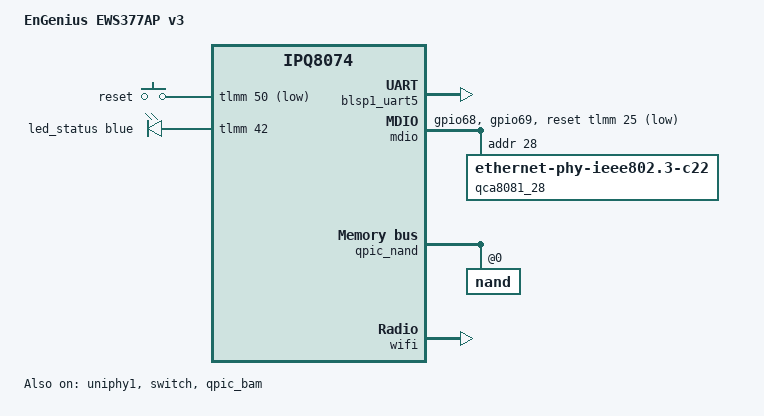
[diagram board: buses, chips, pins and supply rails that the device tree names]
// SPDX-License-Identifier: GPL-2.0-or-later OR BSD-2-Clause
/*
 * EnGenius EWS377AP v3  (Qualcomm IPQ8072A, board "ap-hk07")
 *
 * SCAFFOLD — derived from ipq8072-eap660hd-v1.dts (TP-Link EAP660 HD v1),
 * the closest in-tree IPQ8072 4x4 AP. Values marked TODO(extract) are
 * INHERITED PLACEHOLDERS and MUST be verified against the OEM device tree
 * pulled off real hardware (see UART/firmware extraction plan) before this
 * boots reliably. Do not treat this as validated.
 */

/dts-v1/;

#include "ipq8074.dtsi"
#include "ipq8074-nss.dtsi"
#include "ipq8074-hk-cpu.dtsi"
#include "ipq8074-ess.dtsi"
#include <dt-bindings/leds/common.h>
#include <dt-bindings/input/input.h>
#include <dt-bindings/gpio/gpio.h>

/ {
	model = "EnGenius EWS377AP v3";
	compatible = "engenius,ews377ap-v3", "qcom,ipq8074";

	aliases {
		serial0 = &blsp1_uart5;
		led-boot = &led_status;
		led-failsafe = &led_status;
		led-running = &led_status;
		led-upgrade = &led_status;
	};

	chosen {
		stdout-path = "serial0,115200n8";
		bootargs-append = " root=/dev/ubiblock0_1";
	};

	keys {
		compatible = "gpio-keys";

		/* TODO(extract): confirm reset-button GPIO from OEM DTS */
		reset {
			label = "reset";
			gpios = <&tlmm 50 GPIO_ACTIVE_LOW>;
			linux,code = <KEY_RESTART>;
		};
	};

	leds {
		compatible = "gpio-leds";

		/*
		 * TODO(extract): EWS377AP v3 has multiple status LEDs (power +
		 * per-band). Only a single status LED is scaffolded here; map the
		 * real GPIOs/colors from the OEM DTS + /sys/class/leds.
		 */
		led_status: status {
			function = LED_FUNCTION_STATUS;
			gpios = <&tlmm 42 GPIO_ACTIVE_HIGH>;
			color = <LED_COLOR_ID_BLUE>;
		};
	};
};

&blsp1_uart5 {
	status = "okay";
};

&tlmm {
	mdio_pins: mdio-pins {
		mdc {
			pins = "gpio68";
			function = "mdc";
			drive-strength = <8>;
			bias-pull-up;
		};

		mdio {
			pins = "gpio69";
			function = "mdio";
			drive-strength = <8>;
			bias-pull-up;
		};
	};
};

&mdio {
	status = "okay";
	pinctrl-0 = <&mdio_pins>;
	pinctrl-names = "default";
	/* TODO(extract): confirm PHY reset GPIO */
	reset-gpios = <&tlmm 25 GPIO_ACTIVE_LOW>;

	/*
	 * TODO(extract): EWS377AP v3 uplink is a single 2.5GbE PoE port.
	 * Confirm the PHY model + MDIO address from the OEM DTS. EAP660HD uses
	 * a QCA8081 at addr 28; the EWS377 is the same reference-design class
	 * but the address must be verified.
	 */
	qca8081_28: ethernet-phy@28 {
		compatible = "ethernet-phy-ieee802.3-c22";
		reg = <28>;
	};
};

&uniphy1 {
	status = "okay";
};

&switch {
	status = "okay";

	ports {
		#address-cells = <1>;
		#size-cells = <0>;

		port@0 {
			reg = <0>;
			ethernet = <&edma>;
			phy-mode = "internal";

			fixed-link {
				speed = <1000>;
				full-duplex;
			};
		};

		/* TODO(extract): confirm ESS port index + link speed for the uplink */
		swport5: port@5 {
			reg = <5>;
			label = "lan";
			phy-handle = <&qca8081_28>;
			phy-mode = "2500base-x";
			pcs-handle = <&uniphy1 0>;
		};
	};
};

&edma {
	status = "okay";
};

&qpic_bam {
	status = "okay";
};

&qpic_nand {
	status = "okay";

	nand@0 {
		reg = <0>;
		nand-ecc-strength = <4>;
		nand-ecc-step-size = <512>;
		nand-bus-width = <8>;

		/*
		 * OEM firmware is QSDK OpenWrt and defines the partition table in
		 * SMEM, so the layout (DEVCFG/APPSBLENV/APPSBL/cert/ART/rootfs A/B)
		 * is read automatically here — no hand-written offsets needed.
		 */
		partitions {
			compatible = "qcom,smem-part";
		};
	};
};

&wifi {
	status = "okay";
	/*
	 * TODO(extract): this string must match the board-data variant inside
	 * the board-2.bin supplied by package ipq-wifi-engenius_ews377ap-v3,
	 * which itself must be built from the OEM /lib/firmware/IPQ8074 BDF.
	 */
	qcom,ath11k-calibration-variant = "EnGenius-EWS377AP-v3";
};
